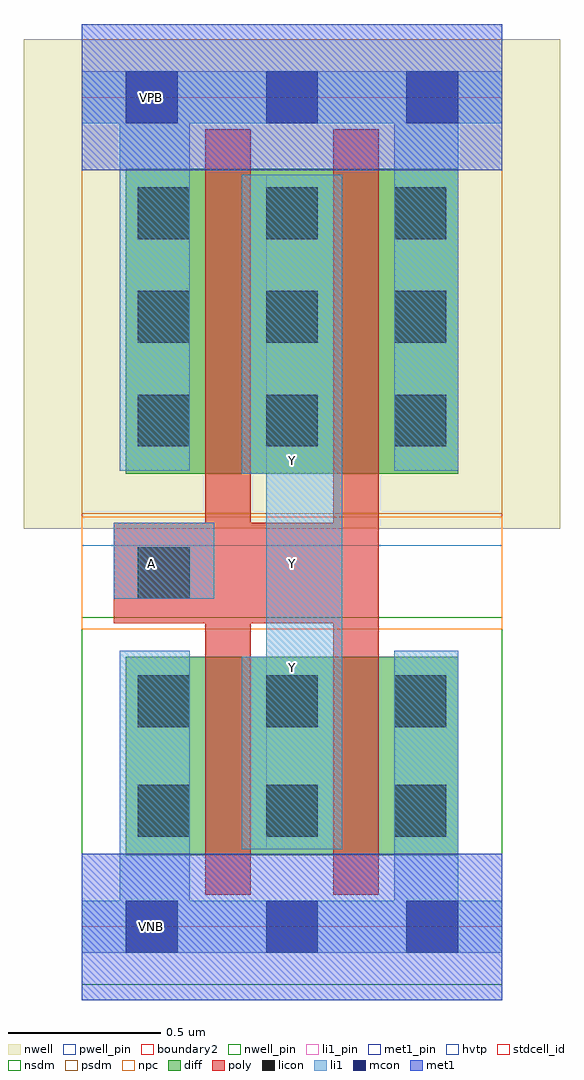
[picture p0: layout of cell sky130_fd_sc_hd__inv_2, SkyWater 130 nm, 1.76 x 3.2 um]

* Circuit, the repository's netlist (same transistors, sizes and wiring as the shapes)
* Copyright 2020 The SkyWater PDK Authors
*
* Licensed under the Apache License, Version 2.0 (the "License");
* you may not use this file except in compliance with the License.
* You may obtain a copy of the License at
*
*     https://www.apache.org/licenses/LICENSE-2.0
*
* Unless required by applicable law or agreed to in writing, software
* distributed under the License is distributed on an "AS IS" BASIS,
* WITHOUT WARRANTIES OR CONDITIONS OF ANY KIND, either express or implied.
* See the License for the specific language governing permissions and
* limitations under the License.
*
* SPDX-License-Identifier: Apache-2.0


.subckt sky130_fd_sc_hd__inv_2 A VGND VNB VPB VPWR Y
X0 Y A VGND VNB sky130_fd_pr__nfet_01v8 w=650000u l=150000u
X1 VPWR A Y VPB sky130_fd_pr__pfet_01v8_hvt w=1 l=150000u
X2 VGND A Y VNB sky130_fd_pr__nfet_01v8 w=650000u l=150000u
X3 Y A VPWR VPB sky130_fd_pr__pfet_01v8_hvt w=1 l=150000u
.ends

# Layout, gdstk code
import gdstk
lib = gdstk.Library(unit=1e-6, precision=1e-09)
def R(c, l, rs):  # rectangles x0, y0, x1, y1
    for r in rs: c.add(gdstk.rectangle(r[:2], r[2:], *l))
def A(c, l, x, y, w, h, nx, ny, dx, dy):  # array of equal rectangles
    R(c, l, [(x+i*dx, y+j*dy, x+i*dx+w, y+j*dy+h) for i in range(nx) for j in range(ny)])
def P(c, l, *ps):  # polygons
    for p in ps: c.add(gdstk.Polygon(p, *l))
nwell_pin = (64, 16)
nwell = (64, 20)
diff = (65, 20)
poly = (66, 20)
licon = (66, 44)
li1_pin = (67, 16)
li1 = (67, 20)
mcon = (67, 44)
met1_pin = (68, 16)
met1 = (68, 20)
hvtp = (78, 44)
stdcell_id = (81, 4)
nsdm = (93, 44)
psdm = (94, 20)
npc = (95, 20)
pwell_pin = (122, 16)
boundary2 = (236, 0)

sky130_fd_sc_hd__inv_2 = lib.new_cell('sky130_fd_sc_hd__inv_2')
R(sky130_fd_sc_hd__inv_2, nwell_pin, [(0.145,2.635,0.315,2.805)])
R(sky130_fd_sc_hd__inv_2, nwell, [(-0.19,1.305,1.57,2.91)])
R(sky130_fd_sc_hd__inv_2, diff, [(0.145,0.235,1.235,0.885), (0.145,1.485,1.235,2.485)])
P(sky130_fd_sc_hd__inv_2, poly, [(0.405,0.105),(0.405,0.995),(0.105,0.995),(0.105,1.325),(0.405,1.325),(0.405,2.615),(0.555,2.615),(0.555,1.325),(0.825,1.325),(0.825,2.615),(0.975,2.615),(0.975,0.105),(0.825,0.105),(0.825,0.995),(0.555,0.995),(0.555,0.105)])
A(sky130_fd_sc_hd__inv_2, licon, 0.185, 0.295, 0.17, 0.17, 3, 2, 0.42, 0.36)
A(sky130_fd_sc_hd__inv_2, licon, 0.185, 1.575, 0.17, 0.17, 3, 3, 0.42, 0.34)
R(sky130_fd_sc_hd__inv_2, licon, [(0.185,1.075,0.355,1.245)])
R(sky130_fd_sc_hd__inv_2, li1_pin, [(0.605,0.255,0.855,2.465), (0.105,1.075,0.435,1.325)])
R(sky130_fd_sc_hd__inv_2, li1, [(0.105,1.075,0.435,1.325)])
P(sky130_fd_sc_hd__inv_2, li1, [(0.125,1.495),(0.125,2.635),(0,2.635),(0,2.805),(1.38,2.805),(1.38,2.635),(1.235,2.635),(1.235,1.495),(1.025,1.495),(1.025,2.635),(0.355,2.635),(0.355,1.495)],
  [(0.525,0.255),(0.525,0.885),(0.605,0.885),(0.605,1.485),(0.525,1.485),(0.525,2.465),(0.855,2.465),(0.855,0.255)],
  [(0,-0.085),(0,0.085),(0.125,0.085),(0.125,0.905),(0.355,0.905),(0.355,0.085),(1.025,0.085),(1.025,0.905),(1.235,0.905),(1.235,0.085),(1.38,0.085),(1.38,-0.085)])
A(sky130_fd_sc_hd__inv_2, mcon, 0.145, -0.085, 0.17, 0.17, 3, 2, 0.46, 2.72)
R(sky130_fd_sc_hd__inv_2, met1_pin, [(0,-0.24,1.38,0.24), (0,2.48,1.38,2.96)])
R(sky130_fd_sc_hd__inv_2, met1, [(0,-0.24,1.38,0.24), (0,2.48,1.38,2.96)])
R(sky130_fd_sc_hd__inv_2, hvtp, [(0,1.25,1.38,2.72)])
R(sky130_fd_sc_hd__inv_2, stdcell_id, [(0,0,1.38,2.72)])
R(sky130_fd_sc_hd__inv_2, nsdm, [(0,-0.19,1.38,1.015)])
R(sky130_fd_sc_hd__inv_2, psdm, [(0,1.355,1.38,2.91)])
R(sky130_fd_sc_hd__inv_2, npc, [(0,0.975,1.38,1.345)])
R(sky130_fd_sc_hd__inv_2, pwell_pin, [(0.145,-0.085,0.315,0.085)])
R(sky130_fd_sc_hd__inv_2, boundary2, [(0,0,1.38,2.72)])
sky130_fd_sc_hd__inv_2.add(gdstk.Label('A', (0.23,1.19), layer=67, texttype=5))
sky130_fd_sc_hd__inv_2.add(gdstk.Label('Y', (0.69,0.85), layer=67, texttype=5))
sky130_fd_sc_hd__inv_2.add(gdstk.Label('Y', (0.69,1.53), layer=67, texttype=5))
sky130_fd_sc_hd__inv_2.add(gdstk.Label('Y', (0.69,1.19), layer=67, texttype=5))
sky130_fd_sc_hd__inv_2.add(gdstk.Label('VPB', (0.23,2.72), layer=64, texttype=5))
sky130_fd_sc_hd__inv_2.add(gdstk.Label('VNB', (0.23,0), layer=64, texttype=59))
sky130_fd_sc_hd__inv_2.add(gdstk.Label('VPWR', (0.23,2.72), layer=68, texttype=5))
sky130_fd_sc_hd__inv_2.add(gdstk.Label('VGND', (0.23,0), layer=68, texttype=5))

lib.write_gds('sky130_fd_sc_hd__inv_2.gds')
